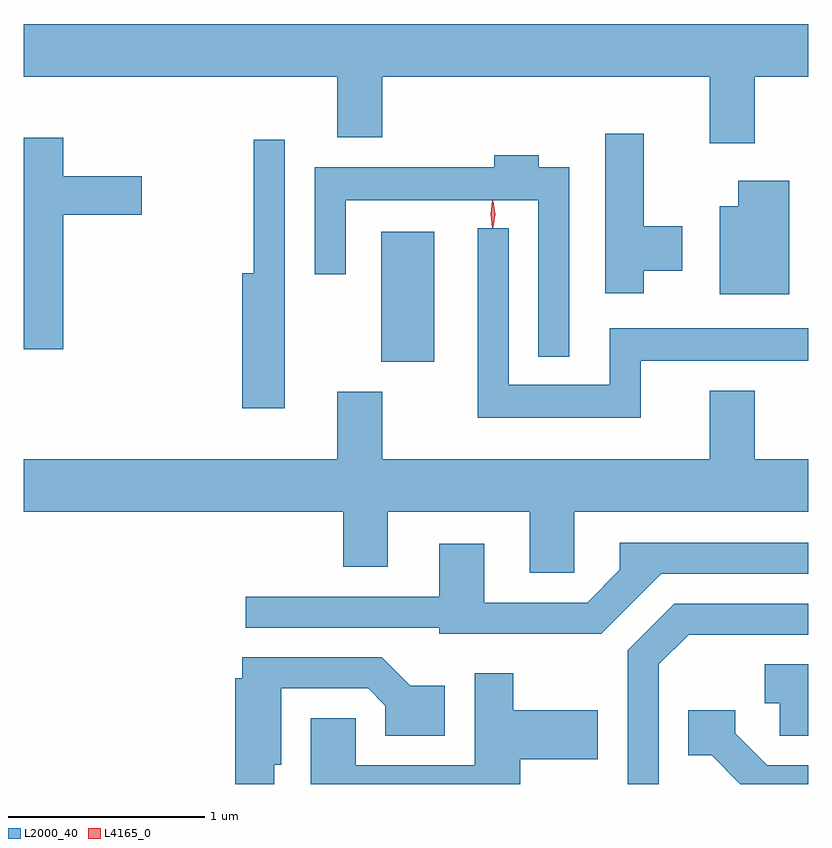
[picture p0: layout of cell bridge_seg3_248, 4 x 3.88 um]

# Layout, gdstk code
import gdstk
lib = gdstk.Library(unit=1e-6, precision=1e-09)
def R(c, l, rs):  # rectangles x0, y0, x1, y1
    for r in rs: c.add(gdstk.rectangle(r[:2], r[2:], *l))
def P(c, l, *ps):  # polygons
    for p in ps: c.add(gdstk.Polygon(p, *l))
L2000_40 = (2000, 40)
L4165_0 = (4165, 0)

bridge_seg3_248 = lib.new_cell('bridge_seg3_248')
R(bridge_seg3_248, L2000_40, [(1005.956,1142.321,1006.224,1142.984)])
P(bridge_seg3_248, L2000_40, [(1007.859,1143.776),(1008.132,1143.776),(1008.132,1144.044),(1004.132,1144.044),(1004.132,1143.776),(1005.731,1143.776),(1005.731,1143.466),(1005.959,1143.466),(1005.959,1143.776),(1007.631,1143.776),(1007.631,1143.436),(1007.859,1143.436)],
  [(1007.294,1142.786),(1007.489,1142.786),(1007.489,1143.014),(1007.294,1143.014),(1007.294,1143.484),(1007.096,1143.484),(1007.096,1142.671),(1007.294,1142.671)],
  [(1004.334,1143.071),(1004.734,1143.071),(1004.734,1143.269),(1004.334,1143.269),(1004.334,1143.464),(1004.132,1143.464),(1004.132,1142.386),(1004.334,1142.386)],
  [(1005.464,1143.453),(1005.306,1143.453),(1005.306,1142.774),(1005.246,1142.774),(1005.246,1142.086),(1005.464,1142.086)],
  [(1006.914,1143.314),(1006.759,1143.314),(1006.759,1143.374),(1006.531,1143.374),(1006.531,1143.314),(1005.616,1143.314),(1005.616,1142.768),(1005.774,1142.768),(1005.774,1143.146),(1006.756,1143.146),(1006.756,1142.348),(1006.914,1142.348)],
  [(1008.034,1143.244),(1007.776,1143.244),(1007.776,1143.114),(1007.681,1143.114),(1007.681,1142.666),(1008.034,1142.666)],
  [(1007.279,1142.326),(1008.132,1142.326),(1008.132,1142.494),(1007.121,1142.494),(1007.121,1142.204),(1006.604,1142.204),(1006.604,1143.003),(1006.446,1143.003),(1006.446,1142.036),(1007.279,1142.036)],
  [(1006.939,1141.556),(1008.132,1141.556),(1008.132,1141.824),(1007.859,1141.824),(1007.859,1142.174),(1007.631,1142.174),(1007.631,1141.824),(1005.959,1141.824),(1005.959,1142.169),(1005.731,1142.169),(1005.731,1141.824),(1004.132,1141.824),(1004.132,1141.556),(1005.761,1141.556),(1005.761,1141.276),(1005.989,1141.276),(1005.989,1141.556),(1006.711,1141.556),(1006.711,1141.246),(1006.939,1141.246)],
  [(1007.382,1141.241),(1008.132,1141.241),(1008.132,1141.399),(1007.171,1141.399),(1007.171,1141.262),(1007.004,1141.094),(1006.479,1141.094),(1006.479,1141.394),(1006.251,1141.394),(1006.251,1141.124),(1005.263,1141.124),(1005.263,1140.966),(1006.251,1140.966),(1006.251,1140.936),(1007.077,1140.936)],
  [(1007.369,1140.779),(1007.522,1140.931),(1008.132,1140.931),(1008.132,1141.089),(1007.449,1141.089),(1007.211,1140.852),(1007.211,1140.169),(1007.369,1140.169)],
  [(1005.409,1140.266),(1005.444,1140.266),(1005.444,1140.656),(1005.889,1140.656),(1005.976,1140.569),(1005.976,1140.416),(1006.279,1140.416),(1006.279,1140.669),(1006.102,1140.669),(1005.957,1140.814),(1005.246,1140.814),(1005.246,1140.709),(1005.211,1140.709),(1005.211,1140.169),(1005.409,1140.169)],
  [(1008.132,1140.779),(1007.911,1140.779),(1007.911,1140.581),(1007.986,1140.581),(1007.986,1140.416),(1008.132,1140.416)],
  [(1006.664,1140.296),(1007.059,1140.296),(1007.059,1140.544),(1006.629,1140.544),(1006.629,1140.734),(1006.431,1140.734),(1006.431,1140.264),(1005.824,1140.264),(1005.824,1140.504),(1005.596,1140.504),(1005.596,1140.169),(1006.664,1140.169)],
  [(1008.132,1140.264),(1007.922,1140.264),(1007.759,1140.427),(1007.759,1140.544),(1007.521,1140.544),(1007.521,1140.316),(1007.639,1140.316),(1007.786,1140.169),(1008.132,1140.169)])
P(bridge_seg3_248, L4165_0, [(1006.522,1143.004),(1006.522,1143.004),(1006.512,1143.073),(1006.522,1143.142),(1006.522,1143.143),(1006.523,1143.142),(1006.532,1143.073),(1006.523,1143.004)],
  [(1006.524,1143.007),(1006.515,1143.074),(1006.524,1143.14),(1006.525,1143.141),(1006.525,1143.14),(1006.535,1143.074),(1006.525,1143.007),(1006.525,1143.007)])

lib.write_gds('bridge_seg3_248.gds')
